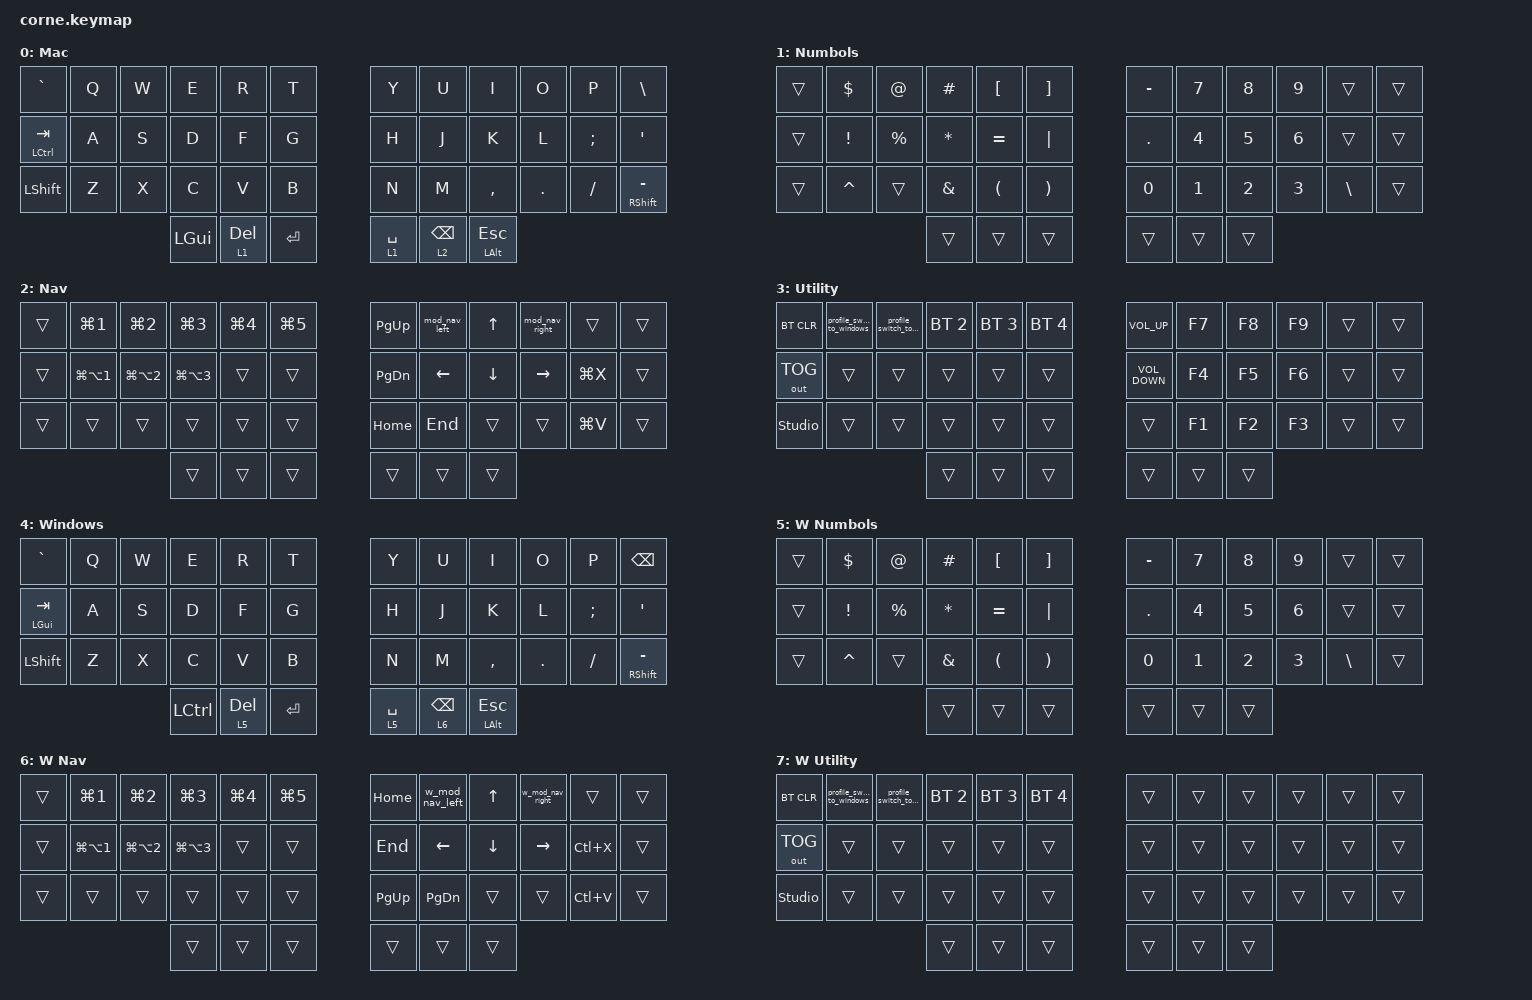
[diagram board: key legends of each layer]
/*
 * Copyright (c) 2020 The ZMK Contributors
 *
 * SPDX-License-Identifier: MIT
 */

#include <behaviors.dtsi>
#include <dt-bindings/zmk/bt.h>
#include <dt-bindings/zmk/keys.h>
#include <dt-bindings/zmk/outputs.h>

/ {
    macros {
        profile_switch_to_windows: profile_switch_to_windows {
            compatible = "zmk,behavior-macro";
            #binding-cells = <0>;
            bindings = <&bt BT_SEL 0 &to 4>;
            label = "PROFILE_SWITCH_TO_WINDOWS";
        };

        profile_switch_to_mac: profile_switch_to_mac {
            compatible = "zmk,behavior-macro";
            #binding-cells = <0>;
            bindings = <&bt BT_SEL 1 &to 0>;
            label = "PROFILE_SWITCH_TO_MAC";
        };
    };

    behaviors {
        tap_hold: tap_hold {
            compatible = "zmk,behavior-hold-tap";
            label = "TAP_HOLD";
            bindings = <&kp>, <&kp>;

            #binding-cells = <2>;
            flavor = "tap-preferred";
            tapping-term-ms = <200>;
        };

        hold_tap: hold_tap {
            compatible = "zmk,behavior-hold-tap";
            label = "HOLD_TAP";
            bindings = <&kp>, <&kp>;

            #binding-cells = <2>;
            flavor = "hold-preferred";
            tapping-term-ms = <200>;
        };

        mod_nav_left: mod_nav_left {
            compatible = "zmk,behavior-mod-morph";
            label = "MOD_NAV_LEFT";
            bindings = <&kp LA(LEFT)>, <&kp LG(LEFT_ARROW)>;

            #binding-cells = <0>;
            mods = <(MOD_LGUI|MOD_RGUI)>;
        };

        mod_nav_right: mod_nav_right {
            compatible = "zmk,behavior-mod-morph";
            label = "MOD_NAV_RIGHT";
            bindings = <&kp LA(RIGHT)>, <&kp LG(RIGHT)>;

            #binding-cells = <0>;
            mods = <(MOD_LGUI|MOD_RGUI)>;
        };

        w_mod_nav_left: w_mod_nav_left {
            compatible = "zmk,behavior-mod-morph";
            label = "W_MOD_NAV_LEFT";
            bindings = <&kp LC(LEFT)>, <&kp HOME>;

            #binding-cells = <0>;
            mods = <(MOD_RCTL|MOD_LCTL)>;
        };

        w_mod_nav_right: w_mod_nav_right {
            compatible = "zmk,behavior-mod-morph";
            label = "W_MOD_NAV_RIGHT";
            bindings = <&kp LC(RIGHT)>, <&kp END>;

            #binding-cells = <0>;
            mods = <(MOD_RCTL|MOD_LCTL)>;
        };
    };

    keymap {
        compatible = "zmk,keymap";

        mac {
            // -----------------------------------------------------------------------------------------
            // |  TAB |  Q  |  W  |  E  |  R  |  T  |   |  Y  |  U   |  I  |  O  |  P  | BKSP |
            // | CTRL |  A  |  S  |  D  |  F  |  G  |   |  H  |  J   |  K  |  L  |  ;  |  '   |
            // | SHFT |  Z  |  X  |  C  |  V  |  B  |   |  N  |  M   |  ,  |  .  |  /  | ESC  |
            //                    | GUI | LWR | SPC |   | ENT | RSE  | ALT |

            bindings = <
&kp GRAVE            &kp Q  &kp W  &kp E     &kp R      &kp T      &kp Y        &kp U            &kp I                   &kp O    &kp P     &kp BACKSLASH
&tap_hold LCTRL TAB  &kp A  &kp S  &kp D     &kp F      &kp G      &kp H        &kp J            &kp K                   &kp L    &kp SEMI  &kp SQT
&kp LSHFT            &kp Z  &kp X  &kp C     &kp V      &kp B      &kp N        &kp M            &kp COMMA               &kp DOT  &kp FSLH  &hold_tap RSHIFT MINUS
                                   &kp LGUI  &lt 1 DEL  &kp RET    &lt 1 SPACE  &lt 2 BACKSPACE  &tap_hold LEFT_ALT ESC
            >;

            label = "Mac";
        };

        numbols {
            // -----------------------------------------------------------------------------------------
            // |  TAB |  1  |  2  |  3  |  4  |  5  |   |  6  |  7  |  8  |  9  |  0  | BKSP |
            // | BTCLR| BT1 | BT2 | BT3 | BT4 | BT5 |   | LFT | DWN |  UP | RGT |     |      |
            // | SHFT |     |     |     |     |     |   |     |     |     |     |     |      |
            //                    | GUI |     | SPC |   | ENT |     | ALT |

            bindings = <
&trans  &kp DOLLAR       &kp AT       &kp HASH      &kp LBKT              &kp RBKT                 &kp MINUS   &kp N7  &kp N8  &kp N9  &trans    &trans
&trans  &kp EXCLAMATION  &kp PERCENT  &kp ASTERISK  &kp EQUAL             &kp PIPE                 &kp PERIOD  &kp N4  &kp N5  &kp N6  &trans    &trans
&trans  &kp CARET        &trans       &kp AMPS      &kp LEFT_PARENTHESIS  &kp RIGHT_PARENTHESIS    &kp N0      &kp N1  &kp N2  &kp N3  &kp BSLH  &trans
                                      &trans        &trans                &trans                   &trans      &trans  &trans
            >;

            label = "Numbols";
        };

        nav {
            // -----------------------------------------------------------------------------------------
            // |  TAB |  !  |  @  |  #  |  $  |  %  |   |  ^  |  &  |  *  |  (  |  )  | BKSP |
            // | CTRL |     |     |     |     |     |   |  -  |  =  |  [  |  ]  |  \  |  `   |
            // | SHFT |     |     |     |     |     |   |  _  |  +  |  {  |  }  | "|" |  ~   |
            //                    | GUI |     | SPC |   | ENT |     | ALT |

            bindings = <
&trans  &kp LG(NUMBER_1)  &kp LG(N2)      &kp LG(N3)            &kp LG(NUMBER_4)  &kp LG(N5)    &kp PAGE_UP    &mod_nav_left  &kp UP    &mod_nav_right  &trans     &trans
&trans  &kp LG(LA(N1))    &kp LG(LA(N2))  &kp LG(LA(NUMBER_3))  &trans            &trans        &kp PAGE_DOWN  &kp LEFT       &kp DOWN  &kp RIGHT       &kp LG(X)  &trans
&trans  &trans            &trans          &trans                &trans            &trans        &kp HOME       &kp END        &trans    &trans          &kp LG(V)  &trans
                                          &trans                &trans            &trans        &trans         &trans         &trans
            >;

            label = "Nav";
        };

        utility {
            bindings = <
&bt BT_CLR      &profile_switch_to_windows  &profile_switch_to_mac  &bt BT_SEL 2  &bt BT_SEL 3  &bt BT_SEL 4    &kp K_VOLUME_UP    &kp F7  &kp F8  &kp F9  &trans  &trans
&out OUT_TOG    &trans                      &trans                  &trans        &trans        &trans          &kp K_VOLUME_DOWN  &kp F4  &kp F5  &kp F6  &trans  &trans
&studio_unlock  &trans                      &trans                  &trans        &trans        &trans          &trans             &kp F1  &kp F2  &kp F3  &trans  &trans
                                                                    &trans        &trans        &trans          &trans             &trans  &trans
            >;

            label = "Utility";
        };

        windows {
            bindings = <
&kp GRAVE               &kp Q  &kp W  &kp E             &kp R      &kp T      &kp Y        &kp U            &kp I                   &kp O    &kp P     &kp BSPC
&tap_hold LEFT_GUI TAB  &kp A  &kp S  &kp D             &kp F      &kp G      &kp H        &kp J            &kp K                   &kp L    &kp SEMI  &kp SQT
&kp LSHFT               &kp Z  &kp X  &kp C             &kp V      &kp B      &kp N        &kp M            &kp COMMA               &kp DOT  &kp FSLH  &hold_tap RSHIFT MINUS
                                      &kp LEFT_CONTROL  &lt 5 DEL  &kp RET    &lt 5 SPACE  &lt 6 BACKSPACE  &tap_hold LEFT_ALT ESC
            >;

            label = "Windows";
        };

        w_numbols {
            label = "W Numbols";
            bindings = <
&trans  &kp DOLLAR       &kp AT       &kp HASH       &kp LBKT              &kp RBKT                 &kp MINUS   &kp N7  &kp N8  &kp N9  &trans    &trans
&trans  &kp EXCLAMATION  &kp PERCENT  &kp ASTERISK   &kp EQUAL             &kp PIPE                 &kp PERIOD  &kp N4  &kp N5  &kp N6  &trans    &trans
&trans  &kp CARET        &trans       &kp AMPERSAND  &kp LEFT_PARENTHESIS  &kp RIGHT_PARENTHESIS    &kp N0      &kp N1  &kp N2  &kp N3  &kp BSLH  &trans
                                      &trans         &trans                &trans                   &trans      &trans  &trans
            >;
        };

        w_nav {
            label = "W Nav";
            bindings = <
&trans  &kp LG(NUMBER_1)  &kp LG(N2)      &kp LG(N3)            &kp LG(NUMBER_4)  &kp LG(N5)    &kp HOME     &w_mod_nav_left  &kp UP    &w_mod_nav_right  &trans     &trans
&trans  &kp LG(LA(N1))    &kp LG(LA(N2))  &kp LG(LA(NUMBER_3))  &trans            &trans        &kp END      &kp LEFT         &kp DOWN  &kp RIGHT         &kp LC(X)  &trans
&trans  &trans            &trans          &trans                &trans            &trans        &kp PAGE_UP  &kp PAGE_DOWN    &trans    &trans            &kp LC(V)  &trans
                                          &trans                &trans            &trans        &trans       &trans           &trans
            >;
        };

        w_utility {
            label = "W Utility";
            bindings = <
&bt BT_CLR      &profile_switch_to_windows  &profile_switch_to_mac  &bt BT_SEL 2  &bt BT_SEL 3  &bt BT_SEL 4    &trans  &trans  &trans  &trans  &trans  &trans
&out OUT_TOG    &trans                      &trans                  &trans        &trans        &trans          &trans  &trans  &trans  &trans  &trans  &trans
&studio_unlock  &trans                      &trans                  &trans        &trans        &trans          &trans  &trans  &trans  &trans  &trans  &trans
                                                                    &trans        &trans        &trans          &trans  &trans  &trans
            >;
        };
    };

    conditional_layers {
        compatible = "zmk,conditional-layers";

        utility_layer {
            if-layers = <1 2>;
            then-layer = <3>;
        };

        w_utility {
            if-layers = <5 6>;
            then-layer = <7>;
        };
    };
};
